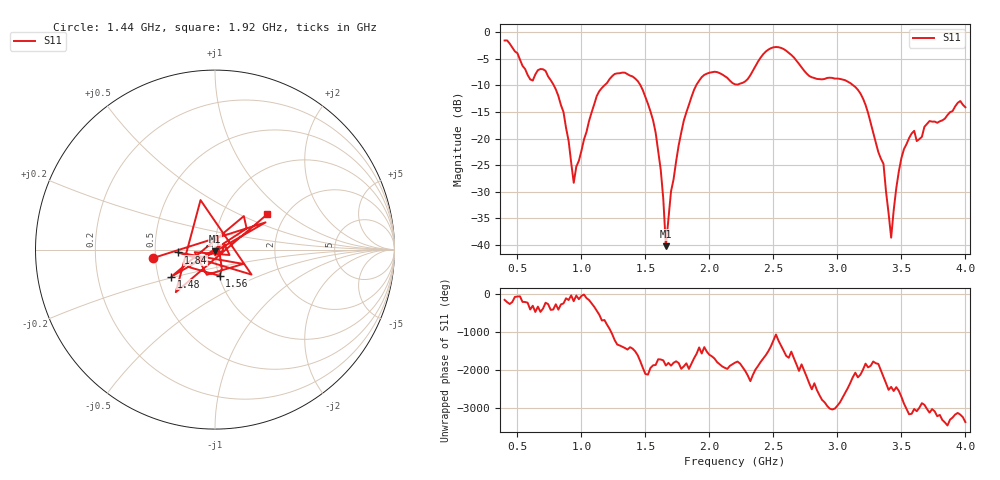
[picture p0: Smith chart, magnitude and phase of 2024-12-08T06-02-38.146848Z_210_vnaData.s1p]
!Created with skrf (http://scikit-rf.org).
# Hz S RI R 50.0
!freq ReS11 ImS11
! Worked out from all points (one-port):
!   181 points, 400 MHz to 4 GHz, reference 50 ohm
!   lowest |S11| = -40.3 dB at 1.66 GHz (marker M1), VSWR 1.02, Z = 50.1 - j0.965 ohm
!   |S11| at or under -10 dB: 784.6 MHz to 1.179 GHz (394.4 MHz wide, 40.2 % of centre); 1.462 GHz to 1.897 GHz (434.7 MHz wide, 25.9 % of centre); 3.125 GHz to end of sweep
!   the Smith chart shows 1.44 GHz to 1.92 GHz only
!   S11 on the Smith chart (normalised r, x): 1.44 GHz: 0.49, -0.05; 1.48 GHz: 0.59, -0.19; 1.56 GHz: 1.01, -0.30; 1.84 GHz: 0.66, -0.02; 1.92 GHz: 1.62, +0.73
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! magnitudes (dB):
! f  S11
! 400 MHz  -1.5
! 600 MHz  -8.9
! 720 MHz  -7.3
! 860 MHz  -15.0
! 940 MHz  -28.3
! 1.12 GHz  -12.0
! 1.3 GHz  -7.7
! 1.44 GHz  -9.2
! 1.48 GHz  -10.9
! 1.56 GHz  -16.6
! 1.62 GHz  -25.9
! 1.66 GHz  -40.3
! 1.7 GHz  -30.0
! 1.76 GHz  -21.3
! 1.84 GHz  -13.7
! 1.92 GHz  -9.1
! 2.04 GHz  -7.4
! 2.2 GHz  -9.8
! 2.48 GHz  -3.0
! 2.66 GHz  -4.7
! 2.8 GHz  -8.5
! 3.1 GHz  -9.5
! 3.2 GHz  -12.5
! 3.36 GHz  -24.8
! 3.42 GHz  -38.7
! 3.48 GHz  -26.2
! 3.56 GHz  -19.9
! 4 GHz  -14.1
